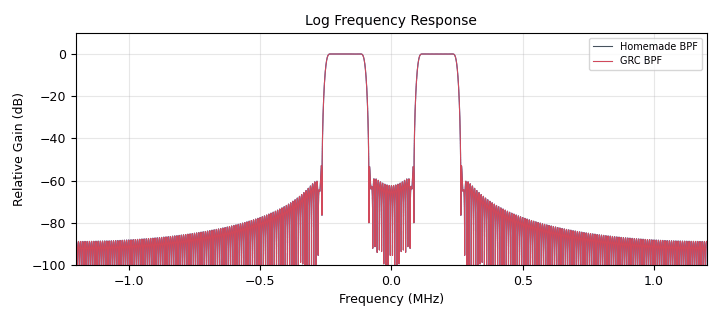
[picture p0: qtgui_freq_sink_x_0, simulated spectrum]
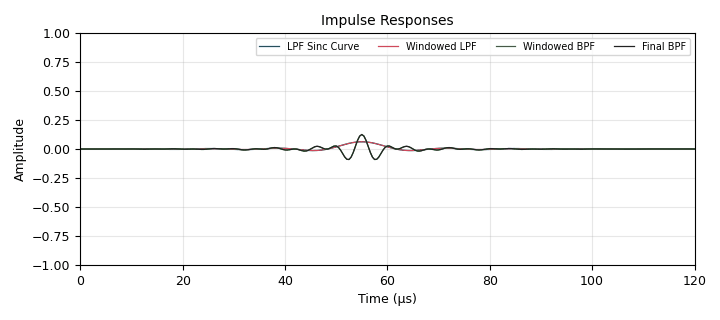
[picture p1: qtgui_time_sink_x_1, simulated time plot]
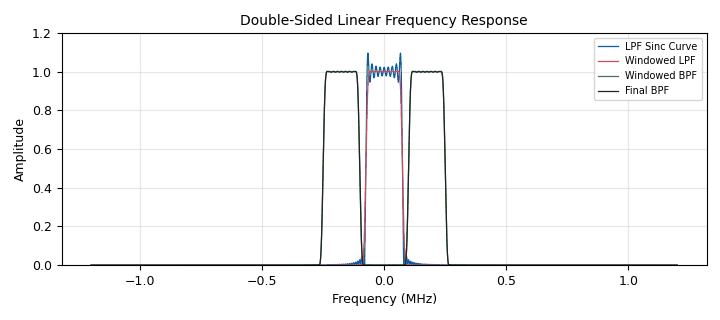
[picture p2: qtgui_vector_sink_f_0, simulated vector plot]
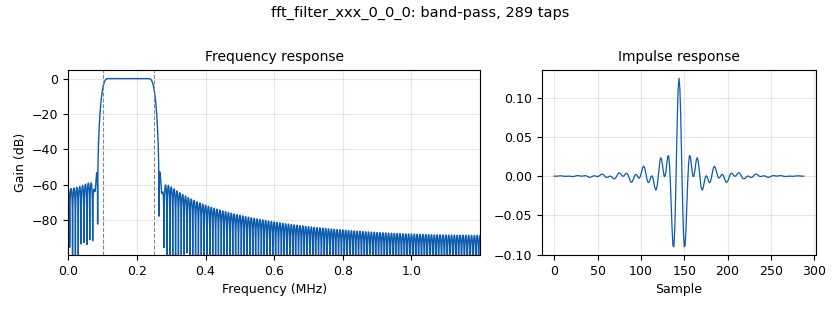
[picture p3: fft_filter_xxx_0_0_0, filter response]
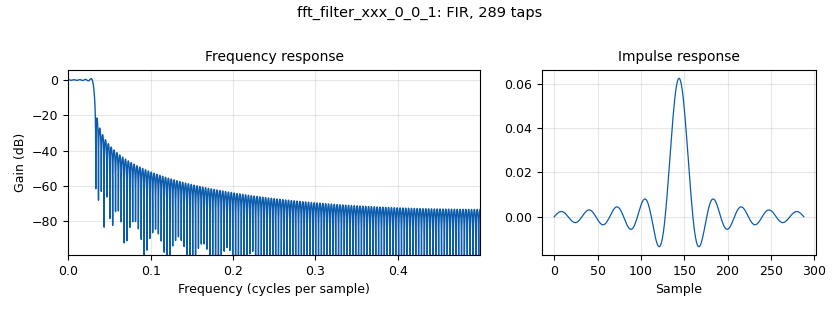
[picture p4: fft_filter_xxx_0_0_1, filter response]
options:
  parameters:
    author: Gary Schafer
    generate_options: qt_gui
    id: filter_impulse_response_highpass
    output_language: python
    title: Create a Bandpass Filter by Frequency-Shifting a Lowpass Filter
  states: {}

blocks:
- name: M
  id: variable
  parameters:
    comment: |-
      Used to create symmetric
      counter around 0.
      ----------------------------------
      Value: int((filt_length-1)/2)
    value: int((filt_length-1)/2)
  states: {}
- name: N
  id: variable
  parameters:
    value: 2**14
  states: {}
- name: bpf
  id: variable
  parameters:
    comment: |-
      Final bandpass filter
      by normalizing the
      gain of the windowed
      bandpass filter.
    value: bpf_win/gain
  states: {}
- name: bpf_win
  id: variable
  parameters:
    comment: |-
      Window the bandpass
      sinc curve.
    value: np.multiply(freq_shift,lpf_win)
  states: {}
- name: cutoff_high
  id: variable
  parameters:
    comment: |-
      High frequency
      limit
    value: 250e3
  states: {}
- name: cutoff_low
  id: variable
  parameters:
    comment: |-
      Low frequency
      limit
    value: 100e3
  states: {}
- name: filt_length
  id: variable
  parameters:
    comment: |-
      Number of taps to
      use creating the filter.
      This corresponds to
      a harris approximation
      calculation using a 
      transition width of
      20 kHz with a 2.4 MHz
      sample rate and Hamming
      window.
    value: '289'
  states: {}
- name: freq_shift
  id: variable
  parameters:
    comment: |-
      Frequency shift used
      to calculate the gain
      of the bandpass filter.
    value: 2*np.cos(np.pi*n*(cutoff_low+cutoff_high)/samp_rate)
  states: {}
- name: gain
  id: variable
  parameters:
    comment: |-
      Calculate the gain of
      the frequency-shifted
      bandpass filter.
    value: np.sum(lpf_win)
  states: {}
- name: grc_bpf
  id: variable_band_pass_filter_taps
  parameters:
    comment: |-
      Gnu Radio Companion
      bandpass filter taps
      for comparison.
    gain: '1.0'
    high_cutoff_freq: cutoff_high
    low_cutoff_freq: cutoff_low
    samp_rate: samp_rate
    type: band_pass
    width: 20e3
    win: window.WIN_HAMMING
  states: {}
- name: lpf_cutoff
  id: variable
  parameters:
    value: (cutoff_high-cutoff_low)/2
  states: {}
- name: lpf_win
  id: variable
  parameters:
    comment: |-
      Window the lowpass
      filter.
    value: np.multiply(sinc_low,w)
  states: {}
- name: n
  id: variable
  parameters:
    comment: |-
      Counter used to
      create sinc curves
    value: np.arange(-M,M+1,1)
  states: {}
- name: samp_rate
  id: variable
  parameters:
    value: 2.4e6
  states: {}
- name: sinc_low
  id: variable
  parameters:
    comment: |-
      Lowpass sinc curve
      for calculated
      half-bandwidth
      frequency.
    value: 2*lpf_cutoff*np.sinc(2*n*lpf_cutoff/samp_rate)/samp_rate
  states: {}
- name: w
  id: variable
  parameters:
    comment: Window curve
    value: window.hamming(filt_length)
  states: {}
- name: blocks_complex_to_mag_0
  id: blocks_complex_to_mag
  parameters:
    vlen: N
  states: {}
- name: blocks_complex_to_mag_0_0
  id: blocks_complex_to_mag
  parameters:
    vlen: N
  states: {}
- name: blocks_complex_to_mag_0_0_0
  id: blocks_complex_to_mag
  parameters:
    vlen: N
  states: {}
- name: blocks_complex_to_mag_0_0_0_0
  id: blocks_complex_to_mag
  parameters:
    vlen: N
  states: {}
- name: blocks_stream_to_vector_0
  id: blocks_stream_to_vector
  parameters:
    num_items: N
    type: float
  states: {}
- name: blocks_stream_to_vector_0_0
  id: blocks_stream_to_vector
  parameters:
    num_items: N
    type: float
  states: {}
- name: blocks_stream_to_vector_0_0_0
  id: blocks_stream_to_vector
  parameters:
    num_items: N
    type: float
  states: {}
- name: blocks_stream_to_vector_0_0_0_0
  id: blocks_stream_to_vector
  parameters:
    num_items: N
    type: float
  states: {}
- name: blocks_throttle_0
  id: blocks_throttle
  parameters:
    samples_per_second: samp_rate
    type: float
  states: {}
- name: blocks_vector_source_x_0
  id: blocks_vector_source_x
  parameters:
    comment: Impulse generator
    repeat: 'True'
    type: float
    vector: '[0,]*int(N/2-1)+[N,]+[0,]*int(N/2)'
  states: {}
- name: blocks_vector_source_x_0_0
  id: blocks_vector_source_x
  parameters:
    comment: |-
      Windowed BPF
      after frequency
      shifting the
      LPF.
    repeat: 'True'
    type: float
    vector: bpf_win
  states: {}
- name: blocks_vector_source_x_0_0_0
  id: blocks_vector_source_x
  parameters:
    comment: |-
      Final windowed
      and gain-normalized
      bandpass filter.
    repeat: 'True'
    type: float
    vector: bpf
  states: {}
- name: blocks_vector_source_x_0_0_0_0
  id: blocks_vector_source_x
  parameters:
    comment: |-
      Windowed sinc
      curve to create
      the LPF
    repeat: 'True'
    type: float
    vector: lpf_win
  states: {}
- name: blocks_vector_source_x_0_0_1
  id: blocks_vector_source_x
  parameters:
    comment: |-
      Prototype sinc
      curve for lowpass
      filter.
    repeat: 'True'
    type: float
    vector: sinc_low
  states: {}
- name: blocks_vector_source_x_0_1
  id: blocks_vector_source_x
  parameters:
    comment: Impulse generator
    repeat: 'True'
    type: float
    vector: '[0,]*int(N/2-1)+[N,]+[0,]*int(N/2)'
  states: {}
- name: fft_filter_xxx_0_0
  id: fft_filter_xxx
  parameters:
    decim: '1'
    taps: bpf
    type: fff
  states: {}
- name: fft_filter_xxx_0_0_0
  id: fft_filter_xxx
  parameters:
    decim: '1'
    taps: grc_bpf
    type: fff
  states: {}
- name: fft_filter_xxx_0_0_0_0
  id: fft_filter_xxx
  parameters:
    decim: '1'
    taps: lpf_win
    type: fff
  states: {}
- name: fft_filter_xxx_0_0_0_0_0
  id: fft_filter_xxx
  parameters:
    decim: '1'
    taps: bpf_win
    type: fff
  states: {}
- name: fft_filter_xxx_0_0_0_0_0_0
  id: fft_filter_xxx
  parameters:
    decim: '1'
    taps: bpf
    type: fff
  states: {}
- name: fft_filter_xxx_0_0_1
  id: fft_filter_xxx
  parameters:
    decim: '1'
    taps: sinc_low
    type: fff
  states: {}
- name: fft_vxx_0
  id: fft_vxx
  parameters:
    fft_size: N
    forward: 'True'
    shift: 'True'
    type: float
    window: '[1/N,]*N'
  states: {}
- name: fft_vxx_0_0
  id: fft_vxx
  parameters:
    fft_size: N
    forward: 'True'
    shift: 'True'
    type: float
    window: '[1/N,]*N'
  states: {}
- name: fft_vxx_0_0_0
  id: fft_vxx
  parameters:
    fft_size: N
    forward: 'True'
    shift: 'True'
    type: float
    window: '[1/N,]*N'
  states: {}
- name: fft_vxx_0_0_0_0
  id: fft_vxx
  parameters:
    fft_size: N
    forward: 'True'
    shift: 'True'
    type: float
    window: '[1/N,]*N'
  states: {}
- name: import_0
  id: import
  parameters:
    imports: import numpy as np
  states: {}
- name: myTabs
  id: qtgui_tab_widget
  parameters:
    gui_hint: 0,0,20,20
    label0: Linear Spectra
    label1: Impulse Response
    label2: Log Spectra
    num_tabs: '3'
  states: {}
- name: note_0
  id: note
  parameters:
    note: Linear Spectra
  states: {}
- name: note_1
  id: note
  parameters:
    note: Impulse Responses
  states: {}
- name: note_2
  id: note
  parameters:
    note: Log Spectra
  states: {}
- name: note_3
  id: note
  parameters:
    comment: |-
      This will create a bandpass filter
      by frequency shifting a lowpass
      filter. 
      1) Calculate the number of filter
      taps.
      2) Calculate the bandwidth of
      the filter. Use half the bandwidth
      as the lowpass filter cutoff
      frequency.
      3) Create sinc curve for the
      lowpass filter.
      4) Window the lowpass filter.
      5) Frequency shift the lowpass
      filter by the center of the desired
      bandpass filter passband.
      6) Normalize the gain of the
      filter to create the final BPF.
    note: Creating a BPF
  states: {}
- name: qtgui_freq_sink_x_0
  id: qtgui_freq_sink_x
  parameters:
    bw: samp_rate
    color1: '"black"'
    fc: '0'
    fftsize: N
    grid: 'True'
    gui_hint: myTabs@2
    label1: Homemade BPF
    label2: GRC BPF
    name: Log Frequency Response
    nconnections: '2'
    type: float
    ymin: '-100'
  states: {}
- name: qtgui_time_sink_x_1
  id: qtgui_time_sink_x
  parameters:
    gui_hint: myTabs@1
    label1: LPF Sinc Curve
    label2: Windowed LPF
    label3: Windowed BPF
    label4: Final BPF
    name: Impulse Responses
    nconnections: '4'
    size: filt_length
    srate: samp_rate
    type: float
  states: {}
- name: qtgui_vector_sink_f_0
  id: qtgui_vector_sink_f
  parameters:
    gui_hint: myTabs@0
    label1: LPF Sinc Curve
    label2: Windowed LPF
    label3: Windowed BPF
    label4: Final BPF
    name: '"Double-Sided Linear Frequency Response"'
    nconnections: '4'
    vlen: N
    x_axis_label: '"Frequency (MHz)"'
    x_start: '-samp_rate/2e6'
    x_step: samp_rate/1e6/N
    x_units: '"MHz"'
    y_axis_label: '"Amplitude"'
    ymax: '1.2'
    ymin: '0'
  states: {}

connections:
- [blocks_complex_to_mag_0, '0', qtgui_vector_sink_f_0, '0']
- [blocks_complex_to_mag_0_0, '0', qtgui_vector_sink_f_0, '1']
- [blocks_complex_to_mag_0_0_0, '0', qtgui_vector_sink_f_0, '2']
- [blocks_complex_to_mag_0_0_0_0, '0', qtgui_vector_sink_f_0, '3']
- [blocks_stream_to_vector_0, '0', fft_vxx_0, '0']
- [blocks_stream_to_vector_0_0, '0', fft_vxx_0_0, '0']
- [blocks_stream_to_vector_0_0_0, '0', fft_vxx_0_0_0, '0']
- [blocks_stream_to_vector_0_0_0_0, '0', fft_vxx_0_0_0_0, '0']
- [blocks_throttle_0, '0', fft_filter_xxx_0_0, '0']
- [blocks_throttle_0, '0', fft_filter_xxx_0_0_0, '0']
- [blocks_vector_source_x_0, '0', blocks_throttle_0, '0']
- [blocks_vector_source_x_0_0, '0', qtgui_time_sink_x_1, '2']
- [blocks_vector_source_x_0_0_0, '0', qtgui_time_sink_x_1, '3']
- [blocks_vector_source_x_0_0_0_0, '0', qtgui_time_sink_x_1, '1']
- [blocks_vector_source_x_0_0_1, '0', qtgui_time_sink_x_1, '0']
- [blocks_vector_source_x_0_1, '0', fft_filter_xxx_0_0_0_0, '0']
- [blocks_vector_source_x_0_1, '0', fft_filter_xxx_0_0_0_0_0, '0']
- [blocks_vector_source_x_0_1, '0', fft_filter_xxx_0_0_0_0_0_0, '0']
- [blocks_vector_source_x_0_1, '0', fft_filter_xxx_0_0_1, '0']
- [fft_filter_xxx_0_0, '0', qtgui_freq_sink_x_0, '0']
- [fft_filter_xxx_0_0_0, '0', qtgui_freq_sink_x_0, '1']
- [fft_filter_xxx_0_0_0_0, '0', blocks_stream_to_vector_0_0, '0']
- [fft_filter_xxx_0_0_0_0_0, '0', blocks_stream_to_vector_0_0_0, '0']
- [fft_filter_xxx_0_0_0_0_0_0, '0', blocks_stream_to_vector_0_0_0_0, '0']
- [fft_filter_xxx_0_0_1, '0', blocks_stream_to_vector_0, '0']
- [fft_vxx_0, '0', blocks_complex_to_mag_0, '0']
- [fft_vxx_0_0, '0', blocks_complex_to_mag_0_0, '0']
- [fft_vxx_0_0_0, '0', blocks_complex_to_mag_0_0_0, '0']
- [fft_vxx_0_0_0_0, '0', blocks_complex_to_mag_0_0_0_0, '0']

metadata:
  file_format: 1
  grc_version: 3.10.9.2
